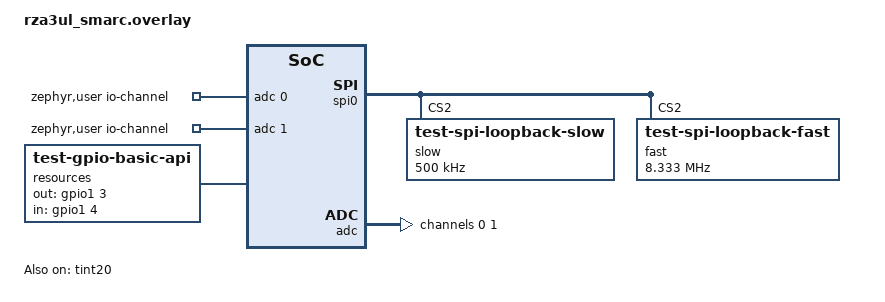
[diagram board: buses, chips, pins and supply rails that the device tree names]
/*
 * Copyright (c) 2025 Renesas Electronics Corporation
 *
 * SPDX-License-Identifier: Apache-2.0
 */

&dma0 {
	status = "okay";
};

tst_dma0: &dma0 {};

&spi0 {
	slow@2 {
		compatible = "test-spi-loopback-slow";
		reg = <2>;
		spi-max-frequency = <500000>;
	};
	fast@2 {
		compatible = "test-spi-loopback-fast";
		reg = <2>;
		spi-max-frequency = <8333333>;
	};
};

/ {
	zephyr,user {
		io-channels = <&adc 0>, <&adc 1>;
	};
};

&adc {
	status = "okay";
	#address-cells = <1>;
	#size-cells = <0>;
	channel@0 {
		reg = <0>;
		zephyr,gain = "ADC_GAIN_1";
		zephyr,reference = "ADC_REF_INTERNAL";
		zephyr,resolution = <12>;
		zephyr,acquisition-time = <ADC_ACQ_TIME_DEFAULT>;
		zephyr,vref-mv = <1800>;
	};
	channel@1 {
		reg = <1>;
		zephyr,gain = "ADC_GAIN_1";
		zephyr,reference = "ADC_REF_INTERNAL";
		zephyr,resolution = <12>;
		zephyr,acquisition-time = <ADC_ACQ_TIME_DEFAULT>;
		zephyr,vref-mv = <1800>;
	};
};

/ {
	resources {
		compatible = "test-gpio-basic-api";
		out-gpios = <&gpio1 3 GPIO_ACTIVE_HIGH>;
		in-gpios = <&gpio1 4 GPIO_ACTIVE_HIGH>;
	};
};

&tint20 {
	status = "okay";
};

&gpio1 {
	irqs = <&tint20 4>;
	status = "okay";
};
